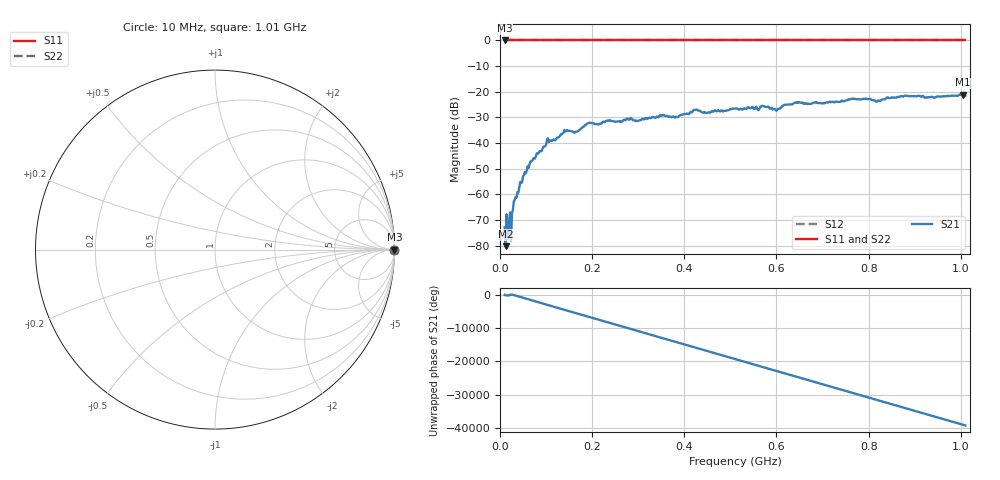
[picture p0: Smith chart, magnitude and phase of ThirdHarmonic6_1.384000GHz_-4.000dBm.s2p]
! 8/16/2025 3:44:16 PM
! C:\ANRITSUVNA\TEMP\TEMP.S2P
! CHANNEL.1
! TR.MEASUREMENT
! RAW.DATA
! RF.CORRECTION.OFF
! AVERAGING.OFF
! IF.BANDWIDTH: 5KHZ
! SWEEPTYPE:  FREQ.SWEEP(Linear)
! Reference Plane Port Info
! PORT:  PORT1  PORT2
! DISTANCE:  0  m  0  m
! TIME:  0  s  0  s
! PHASE.OFFSET:  0  deg.  0  deg.
! LOSS:  0  dB  0  dB
! REF.LOSS:  0  dB  0  dB
! REF.FREQ:  0  Hz  0  Hz
! Power Info
! POWER:  -20  dBm  -20  dBm
! EFF.POWER:  -20  dBm  -20  dBm
! SOURCE.ATTEN:  0  dB  0  dB
! TEST.ATTEN:  0  dB  0  dB
# GHZ S RI R 50.0
! FREQ.GHZ  S11RE  S11IM  S21RE  S21IM  S12RE  S12IM  S22RE  S22IM
!; PortSelection: Port_12
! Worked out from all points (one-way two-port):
!   501 points, 10 MHz to 1.01 GHz, reference 50 ohm
!   highest |S21| = -21.12 dB at 1.004 GHz (marker M1); lowest = -80.2 dB at 12 MHz (marker M2)
!   lowest |S11| = 0.0 dB at 10 MHz (marker M3)
!   |S11| at or under -10 dB: nowhere
!   |S22| runs from 0.0 to 0.0 dB; largest |S21 - S12| = 1.1
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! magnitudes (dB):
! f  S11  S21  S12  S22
! 10 MHz  0.0  -72.9  0.0  0.0
! 12 MHz  0.0  -80.2  0.0  0.0
! 16 MHz  0.0  -77.5  0.0  0.0
! 18 MHz  0.0  -75.0  0.0  0.0
! 20 MHz  0.0  -70.3  0.0  0.0
! 34 MHz  0.0  -61.1  0.0  0.0
! 48 MHz  0.0  -55.3  0.0  0.0
! 70 MHz  0.0  -46.9  0.0  0.0
! 106 MHz  0.0  -39.7  0.0  0.0
! 142 MHz  0.0  -35.5  0.0  0.0
! 164 MHz  0.0  -35.6  0.0  0.0
! 178 MHz  0.0  -34.0  0.0  0.0
! 194 MHz  0.0  -32.1  0.0  0.0
! 344 MHz  0.0  -29.9  0.0  0.0
! 510 MHz  0.0  -26.6  0.0  0.0
! 570 MHz  0.0  -25.5  0.0  0.0
! 602 MHz  0.0  -26.8  0.0  0.0
! 644 MHz  0.0  -24.1  0.0  0.0
! 678 MHz  0.0  -24.4  0.0  0.0
! 844 MHz  0.0  -22.5  0.0  0.0
! 1.004 GHz  0.0  -21.1  0.0  0.0
! 1.01 GHz  0.0  -21.6  0.0  0.0
